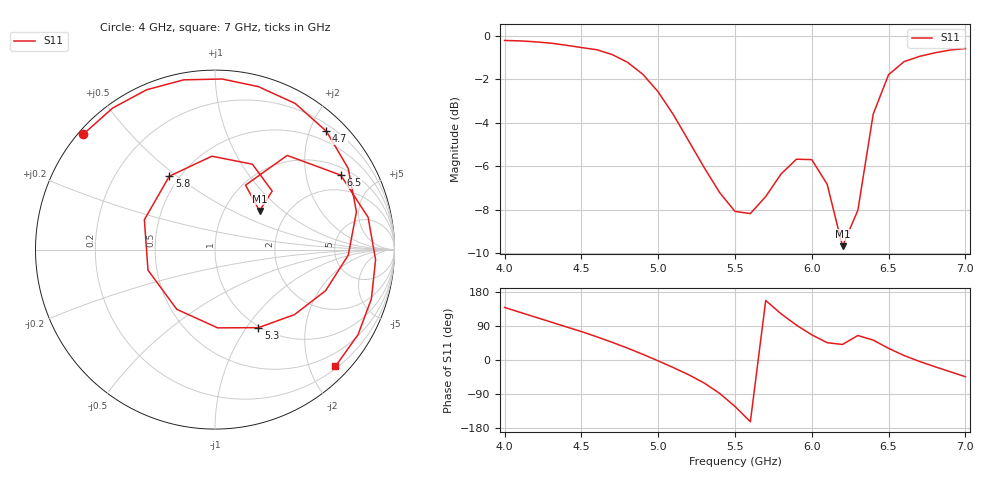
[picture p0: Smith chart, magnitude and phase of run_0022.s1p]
! Touchstone file exported from HFSS 2024.2.0
!  File:  C:/Users/wsak9/Desktop/Sim Fast/Widenad Patch/WP_AI_V1_sweep.aedt
!  Generated:  03:39:18 PM Oct 13, 2026
!  Design:  A1_model
!  Project:  WP_AI_V1_sweep
!  Setup:  Setup1
!  Solution:  Sweep
! Variables:
!  Air_gap = 2.48mm
!  Curve_Amp1 = 2.25
!  Curve_len1 = 1
!  Curve_pos = 9.965mm
!  Extra = 2.57mm
!  H_sub = 0.79mm
!  L_Patch = 15.93mm
!  L_Patch1 = 17.14mm
!  Sx = 4.75mm
!  Sy = 3.56mm
!  WS = 0.59mm
!  W_Patch = 20.94mm
!  W_Patch1 = 14.57mm
!Data is not renormalized
# GHz S MA
! Terminal data exported
! Port[1] = 1
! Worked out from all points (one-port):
!   31 points, 4 GHz to 7 GHz, reference per port
!   lowest |S11| = -9.7 dB at 6.2 GHz (marker M1), VSWR 1.98
!   |S11| at or under -10 dB: nowhere
!   S11 on the Smith chart (normalised r, x): 4 GHz: 0.01, +0.38; 4.7 GHz: 0.31, +2.28; 5.3 GHz: 0.98, -1.14; 5.8 GHz: 0.44, +0.47; 6.5 GHz: 1.29, +3.17; 7 GHz: 0.24, -2.45
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4  0.9755 138.8
4.2  0.9685 113.1
4.4  0.9513 87.6
4.5  0.9396 75.1
4.6  0.9288 61.3
4.7  0.9055 46.8
4.8  0.8692 31.4
4.9  0.8156 14.9
5  0.7432 -2.3
5.1  0.6577 -20.3
5.2  0.5722 -39.2
5.3  0.4976 -60.9
5.4  0.4363 -88.1
5.5  0.395 -122.6
5.6  0.3905 -162.9
5.7  0.4273 157.1
5.8  0.4815 121.9
5.9  0.5206 91.9
6  0.5194 66.4
6.1  0.4559 45.6
6.2  0.3287 41.0
6.3  0.3974 64.7
6.4  0.6613 52.5
6.5  0.814 30.6
6.6  0.8718 11.9
6.7  0.8966 -3.6
6.8  0.9135 -17.5
7  0.9344 -44.1
